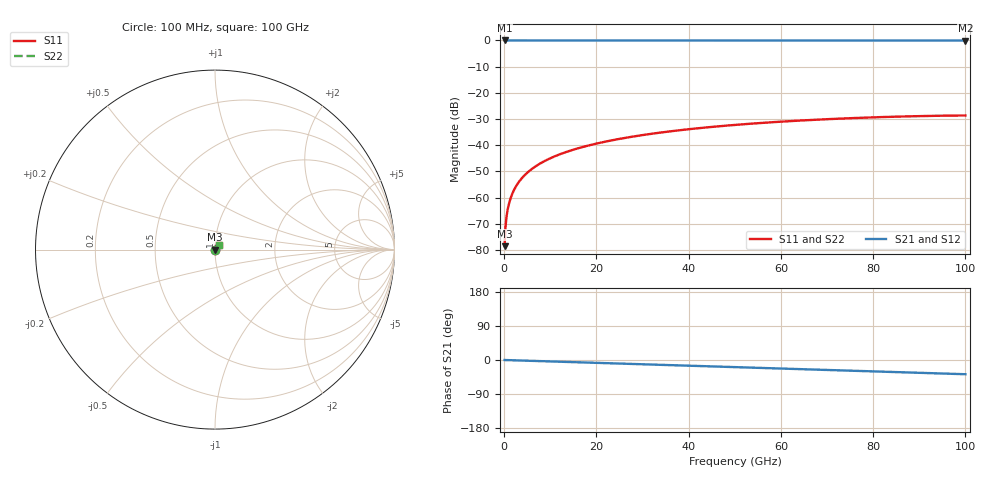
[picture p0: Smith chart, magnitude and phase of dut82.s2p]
! Touchstone file exported from HFSS 2026.1.0
!  File:  C:/ffzhzh/LocalFiles/Ansys_Project_Files/temp_train_TSV_82_1783505461_41296.aedt
!  Generated:  06:12:10 PM Jul  8, 2026
!  Design:  TSV
!  Project:  temp_train_TSV_82_1783505461_41296
! Variables:
!  h_bsmrdl = 2um
!  h_ox = 20um
!  h_rdl = 5um
!  h_sub = 70.71um
!  h_tmrdl = 5um
!  h_tsv = 70.71um
!  h_via = 3um
!  l_bsmrdl = 300um
!  l_sub = 426.12um
!  l_tmrdl = 200um
!  m_sub = 200um
!  pitch = 56.66um
!  r_tsv = 13.06um
!  s_tmrdl = 10um
!  w_bsmrdl = 18um
!  w_sub = 500um
!  w_tmrdl = 12um
!  x_tsv_center1 = 206um
!  x_tsv_center2 = 524um
!  x_tsv_center3 = 736um
!  x_tsv_center4 = 1054um
!  x_tsv_center5 = 1266um
!  x_tsv_center6 = 1584um
# GHz S MA R 50.000000
! Terminal data exported
! Port[1] = TSV1_1_T1
! Port[2] = TSV1_1_T2
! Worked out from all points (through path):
!   1000 points, 100 MHz to 100 GHz, reference 50 ohm
!   highest |S21| = 0.00 dB at 100 MHz (marker M1); lowest = 0.0 dB at 100 GHz (marker M2)
!   group delay of S21, straight-line fit = 1.04 ps
!   lowest |S11| = -78.5 dB at 100 MHz (marker M3), VSWR 1.00, Z = 50 + j0.00897 ohm
!   |S11| at or under -10 dB: start of sweep to end of sweep
!   |S22| runs from -78.5 to -28.6 dB; largest |S21 - S12| = 2.6e-15
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0.1  0.0001185 49.2  0.9999 -0.0  0.9999 -0.0  0.0001185 49.2
! Gamma 0 0 0 0
! Port Impedance 50 0 50 0
0.3  0.0002768 67.2  0.9999 -0.1  0.9999 -0.1  0.0002768 67.2
0.7  0.0005535 71.2  0.9998 -0.3  0.9998 -0.3  0.0005535 71.2
0.8  0.0006155 71.8  0.9998 -0.3  0.9998 -0.3  0.0006155 71.8
1  0.0007362 72.9  0.9998 -0.4  0.9998 -0.4  0.0007362 72.9
1.3  0.0009135 74.3  0.9998 -0.5  0.9998 -0.5  0.0009135 74.3
1.8  0.001205 75.9  0.9997 -0.7  0.9997 -0.7  0.001205 75.9
2.4  0.001549 77.1  0.9997 -0.9  0.9997 -0.9  0.001549 77.1
3.1  0.001943 77.9  0.9996 -1.2  0.9996 -1.2  0.001943 77.9
3.9  0.002385 78.5  0.9996 -1.5  0.9996 -1.5  0.002385 78.5
4.9  0.002929 79.0  0.9995 -1.8  0.9995 -1.8  0.002929 79.0
6.1  0.003574 79.4  0.9995 -2.3  0.9995 -2.3  0.003574 79.4
8.9  0.005061 79.6  0.9994 -3.3  0.9994 -3.3  0.005061 79.5
12.4  0.00689 79.1  0.9992 -4.7  0.9992 -4.7  0.00689 79.1
16.8  0.00914 78.2  0.9991 -6.3  0.9991 -6.3  0.00914 78.2
24.2  0.01283 76.3  0.9989 -9.1  0.9989 -9.1  0.01283 76.3
33.4  0.01722 73.5  0.9986 -12.5  0.9986 -12.5  0.01722 73.5
41.3  0.02078 70.9  0.9984 -15.4  0.9984 -15.4  0.02078 70.9
50.1  0.02446 67.9  0.9982 -18.7  0.9982 -18.7  0.02446 67.8
66.7  0.03042 62.0  0.9977 -25.0  0.9977 -25.0  0.03042 62.0
83.4  0.03481 56.0  0.9973 -31.3  0.9973 -31.3  0.03481 55.9
100  0.03703 50.0  0.9969 -37.5  0.9969 -37.5  0.03703 49.9
